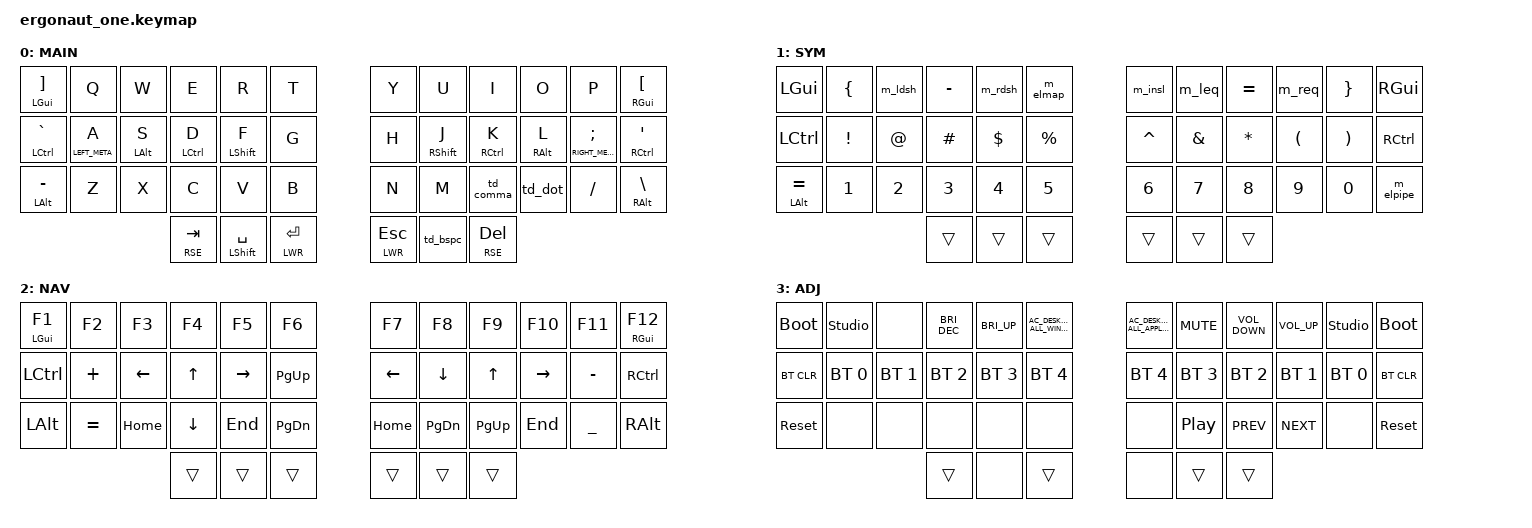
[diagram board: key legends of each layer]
#include <behaviors.dtsi>
#include <dt-bindings/zmk/bt.h>
#include <dt-bindings/zmk/keys.h>

#define DEF 0
#define LWR 1
#define RSE 2
#define ADJ 3

#include "combos.dtsi"

&lt { quick-tap-ms = <200>; };

&mt {
    tapping-term-ms = <180>;
    quick-tap-ms = <150>;
    flavor = "balanced";
};

/ {
    conditional_layers {
        compatible = "zmk,conditional-layers";

        tri-layer {
            if-layers = <LWR RSE>;
            then-layer = <ADJ>;
        };
    };

    behaviors {
        td_bspc: td_bspc {
            compatible = "zmk,behavior-tap-dance";
            #binding-cells = <0>;
            tapping-term-ms = <150>;
            bindings = <&mt RSHFT BSPC>, <&kp LC(BSPC)>;
        };
        td_dot: td_dot {
            compatible = "zmk,behavior-tap-dance";
            #binding-cells = <0>;
            tapping-term-ms = <150>;
            bindings = <&kp DOT>, <&kp LS(SEMI)>;
        };
        td_comma: td_comma {
            compatible = "zmk,behavior-tap-dance";
            #binding-cells = <0>;
            tapping-term-ms = <150>;
            bindings = <&kp COMMA>, <&kp SEMI>;
        };
    };

    macros {
        m_elpipe: m_elpipe {
            compatible = "zmk,behavior-macro";
            #binding-cells = <0>;
            bindings = <&kp PIPE &kp GT &kp SPACE>;
            label = "M_ELPIPE";
        };

        m_insl: m_insl {
            compatible = "zmk,behavior-macro";
            #binding-cells = <0>;
            bindings = <&kp I &kp N &kp S &kp L>;
            label = "M_INSL";
        };

        m_leq: m_leq {
            compatible = "zmk,behavior-macro";
            #binding-cells = <0>;
            bindings = <&kp SPACE &kp LT &kp EQUAL &kp SPACE>;
            label = "Less Equal";
        };

        m_req: m_req {
            compatible = "zmk,behavior-macro";
            #binding-cells = <0>;
            bindings = <&kp SPACE &kp EQUAL &kp GT &kp SPACE>;
            label = "More Equal";
        };

        m_elmap: m_elmap {
            compatible = "zmk,behavior-macro";
            #binding-cells = <0>;
            bindings = <&kp PRCNT &kp LEFT_BRACE &kp SPACE>;
            label = "Elixir map";
        };

        m_ldsh: m_ldsh {
            compatible = "zmk,behavior-macro";
            #binding-cells = <0>;
            bindings = <&kp SPACE &kp LT &kp MINUS &kp SPACE>;
            label = "Left Arrow";
        };

        m_rdsh: m_rdsh {
            compatible = "zmk,behavior-macro";
            #binding-cells = <0>;
            bindings = <&kp SPACE &kp MINUS &kp GT &kp SPACE>;
            label = "Right Arrow";
        };
    };

    keymap {
        compatible = "zmk,keymap";

        default_layer {
            display-name = "MAIN";
            bindings = <
&mt LGUI RBKT    &kp Q            &kp W           &kp E               &kp R             &kp T        &kp Y        &kp U              &kp I           &kp O            &kp P                &mt RGUI LBKT
&mt LCTRL GRAVE  &mt LEFT_META A  &mt LEFT_ALT S  &mt LEFT_CONTROL D  &mt LEFT_SHIFT F  &kp G        &kp H        &mt RIGHT_SHIFT J  &mt RCTRL K     &mt RIGHT_ALT L  &mt RIGHT_META SEMI  &mt RCTRL SQT
&mt LALT MINUS   &kp Z            &kp X           &kp C               &kp V             &kp B        &kp N        &kp M              &td_comma       &td_dot          &kp FSLH             &mt RALT BSLH
                                                  &lt RSE TAB         &mt LSHFT SPACE   &lt LWR RET  &lt LWR ESC  &td_bspc           &lt RSE DELETE
            >;
        };

        lower_layer {
            display-name = "SYM";
            bindings = <
&kp LGUI        &kp LEFT_BRACE  &m_ldsh  &kp MINUS  &m_rdsh   &m_elmap   &m_insl    &m_leq    &kp EQUAL  &m_req    &kp RIGHT_BRACE  &kp RGUI
&kp LCTRL       &kp EXCL        &kp AT   &kp HASH   &kp DLLR  &kp PRCNT  &kp CARET  &kp AMPS  &kp STAR   &kp LPAR  &kp RPAR         &kp RCTRL
&mt LALT EQUAL  &kp N1          &kp N2   &kp N3     &kp N4    &kp N5     &kp N6     &kp N7    &kp N8     &kp N9    &kp N0           &m_elpipe
                                         &trans     &trans    &trans     &trans     &trans    &trans
            >;
        };

        raise_layer {
            display-name = "NAV";
            bindings = <
&mt LGUI F1  &kp F2     &kp F3    &kp F4    &kp F5     &kp F6         &kp F7    &kp F8         &kp F9       &kp F10    &kp F11    &mt RGUI F12
&kp LCTRL    &kp PLUS   &kp LEFT  &kp UP    &kp RIGHT  &kp PAGE_UP    &kp LEFT  &kp DOWN       &kp UP       &kp RIGHT  &kp MINUS  &kp RCTRL
&kp LALT     &kp EQUAL  &kp HOME  &kp DOWN  &kp END    &kp PAGE_DOWN  &kp HOME  &kp PAGE_DOWN  &kp PAGE_UP  &kp END    &kp UNDER  &kp RALT
                                  &trans    &trans     &trans         &trans    &trans         &trans
            >;
        };

        adjust_layer {
            display-name = "ADJ";
            bindings = <
&bootloader  &studio_unlock  &none         &kp C_BRI_DEC  &kp C_BRI_UP  &kp C_AC_DESKTOP_SHOW_ALL_WINDOWS  &kp C_AC_DESKTOP_SHOW_ALL_APPLICATIONS  &kp C_MUTE        &kp C_VOLUME_DOWN  &kp C_VOLUME_UP  &studio_unlock  &bootloader
&bt BT_CLR   &bt BT_SEL 0    &bt BT_SEL 1  &bt BT_SEL 2   &bt BT_SEL 3  &bt BT_SEL 4                       &bt BT_SEL 4                            &bt BT_SEL 3      &bt BT_SEL 2       &bt BT_SEL 1     &bt BT_SEL 0    &bt BT_CLR
&sys_reset   &none           &none         &none          &none         &none                              &none                                   &kp C_PLAY_PAUSE  &kp C_PREV         &kp C_NEXT       &none           &sys_reset
                                           &trans         &none         &trans                             &none                                   &trans            &trans
            >;
        };
    };
};
